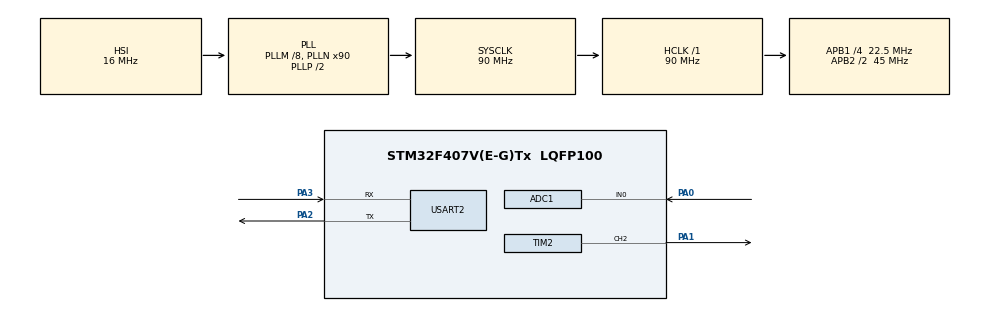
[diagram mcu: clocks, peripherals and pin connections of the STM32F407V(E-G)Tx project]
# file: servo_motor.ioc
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ADC1.Channel-0\#ChannelRegularConversion=ADC_CHANNEL_0
ADC1.InjNumberOfConversion=0
ADC1.NbrOfConversionFlag=1
ADC1.Rank-0\#ChannelRegularConversion=1
ADC1.SamplingTime-0\#ChannelRegularConversion=ADC_SAMPLETIME_3CYCLES
ADC1.master=1
Mcu.Family=STM32F4
Mcu.Name=STM32F407V(E-G)Tx
Mcu.Package=LQFP100
NVIC.PriorityGroup=NVIC_PRIORITYGROUP_0
PA0-WKUP.Signal=ADCx_IN0
PA1.Signal=S_TIM2_CH2
PA2.Mode=Asynchronous
PA2.Signal=USART2_TX
PA3.Mode=Asynchronous
PA3.Signal=USART2_RX
ProjectManager.HeapSize=0x200
ProjectManager.StackSize=0x400
ProjectManager.TargetToolchain=STM32CubeIDE
RCC.48MHZClocksFreq_Value=25714285.714285713
RCC.AHBFreq_Value=90000000
RCC.APB1CLKDivider=RCC_HCLK_DIV4
RCC.APB1Freq_Value=22500000
RCC.APB1TimFreq_Value=45000000
RCC.APB2CLKDivider=RCC_HCLK_DIV2
RCC.APB2Freq_Value=45000000
RCC.APB2TimFreq_Value=90000000
RCC.CortexFreq_Value=90000000
RCC.HCLKFreq_Value=90000000
RCC.HSE_VALUE=8000000
RCC.HSI_VALUE=16000000
RCC.LSE_VALUE=32768
RCC.PLLM=8
RCC.PLLN=90
RCC.PLLQ=7
RCC.SYSCLKFreq_VALUE=90000000
RCC.SYSCLKSource=RCC_SYSCLKSOURCE_PLLCLK
RCC.VCOOutputFreq_Value=180000000
SH.ADCx_IN0.0=ADC1_IN0,IN0
SH.S_TIM2_CH2.0=TIM2_CH2,PWM Generation2 CH2
TIM2.Channel-PWM\ Generation2\ CH2=TIM_CHANNEL_2
TIM2.Period=10000-1
TIM2.Prescaler=360-1
USART2.VirtualMode=VM_ASYNC
VP_TIM2_VS_ClockSourceINT.Mode=Internal
board=STM32F407G-DISC1

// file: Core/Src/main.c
/* USER CODE BEGIN Header */
/**
  ******************************************************************************
  * @file           : main.c
  * @brief          : Main program body
  ******************************************************************************
  * @attention
  *
  * Copyright (c) 2024 STMicroelectronics.
  * All rights reserved.
  *
  * This software is licensed under terms that can be found in the LICENSE file+
  *
  * in the root directory of this software component.
  * If no LICENSE file comes with this software, it is provided AS-IS.
  *
  ******************************************************************************
  */
/* USER CODE END Header */
#include "main.h"

/* USER CODE BEGIN Includes */
#include <stdio.h>
#include <string.h>
/* USER CODE END Includes */

ADC_HandleTypeDef hadc1;

TIM_HandleTypeDef htim2;

UART_HandleTypeDef huart2;

/* USER CODE BEGIN PV */
int i;
uint16_t moisture = 0;
char msg[20];
/* USER CODE END PV */

void SystemClock_Config(void);
static void MX_GPIO_Init(void);
static void MX_TIM2_Init(void);
static void MX_ADC1_Init(void);
static void MX_USART2_UART_Init(void);

/* USER CODE BEGIN 0 */
void Wiper_Operation(void);
/* USER CODE END 0 */

int main(void)
{

  /* MCU Configuration--------------------------------------------------------*/

  /* Reset of all peripherals, Initializes the Flash interface and the Systick. */
  HAL_Init();

  /* Configure the system clock */
  SystemClock_Config();

  /* Initialize all configured peripherals */
  MX_GPIO_Init();
  MX_TIM2_Init();
  MX_ADC1_Init();
  MX_USART2_UART_Init();
  /* USER CODE BEGIN 2 */
  HAL_TIM_PWM_Start(&htim2,TIM_CHANNEL_2);

  /* USER CODE END 2 */

  /* Infinite loop */
  /* USER CODE BEGIN WHILE */
  while (1)
  {

//	__HAL_TIM_SET_COMPARE(&htim2,TIM_CHANNEL_2,500);
//	HAL_Delay(2000);
	/*__HAL_TIM_SET_COMPARE(&htim2,TIM_CHANNEL_2,750);
		HAL_Delay(1000);
	__HAL_TIM_SET_COMPARE(&htim2,TIM_CHANNEL_2,1250);
	HAL_Delay(1000);*/

    /* USER CODE END WHILE */

    /* USER CODE BEGIN 3 */
	HAL_ADC_Start(&hadc1);
	HAL_ADC_PollForConversion(&hadc1, 20);
	moisture = HAL_ADC_GetValue(&hadc1);
	sprintf(msg,"Rain = %hu\r\n", moisture);
	HAL_UART_Transmit(&huart2, (uint8_t *)msg, strlen(msg), HAL_MAX_DELAY);
	HAL_Delay(500);

	if(moisture < 1000)
		Wiper_Operation();
  }
  /* USER CODE END 3 */
}

void SystemClock_Config(void)
{
  RCC_OscInitTypeDef RCC_OscInitStruct = {0};
  RCC_ClkInitTypeDef RCC_ClkInitStruct = {0};

  /** Configure the main internal regulator output voltage
  */
  __HAL_RCC_PWR_CLK_ENABLE();
  __HAL_PWR_VOLTAGESCALING_CONFIG(PWR_REGULATOR_VOLTAGE_SCALE1);

  /** Initializes the RCC Oscillators according to the specified parameters
  * in the RCC_OscInitTypeDef structure.
  */
  RCC_OscInitStruct.OscillatorType = RCC_OSCILLATORTYPE_HSI;
  RCC_OscInitStruct.HSIState = RCC_HSI_ON;
  RCC_OscInitStruct.HSICalibrationValue = RCC_HSICALIBRATION_DEFAULT;
  RCC_OscInitStruct.PLL.PLLState = RCC_PLL_ON;
  RCC_OscInitStruct.PLL.PLLSource = RCC_PLLSOURCE_HSI;
  RCC_OscInitStruct.PLL.PLLM = 8;
  RCC_OscInitStruct.PLL.PLLN = 90;
  RCC_OscInitStruct.PLL.PLLP = RCC_PLLP_DIV2;
  RCC_OscInitStruct.PLL.PLLQ = 7;
  if (HAL_RCC_OscConfig(&RCC_OscInitStruct) != HAL_OK)
  {
    Error_Handler();
  }

  /** Initializes the CPU, AHB and APB buses clocks
  */
  RCC_ClkInitStruct.ClockType = RCC_CLOCKTYPE_HCLK|RCC_CLOCKTYPE_SYSCLK
                              |RCC_CLOCKTYPE_PCLK1|RCC_CLOCKTYPE_PCLK2;
  RCC_ClkInitStruct.SYSCLKSource = RCC_SYSCLKSOURCE_PLLCLK;
  RCC_ClkInitStruct.AHBCLKDivider = RCC_SYSCLK_DIV1;
  RCC_ClkInitStruct.APB1CLKDivider = RCC_HCLK_DIV4;
  RCC_ClkInitStruct.APB2CLKDivider = RCC_HCLK_DIV2;

  if (HAL_RCC_ClockConfig(&RCC_ClkInitStruct, FLASH_LATENCY_2) != HAL_OK)
  {
    Error_Handler();
  }
}

static void MX_ADC1_Init(void)
{

  ADC_ChannelConfTypeDef sConfig = {0};

  /** Configure the global features of the ADC (Clock, Resolution, Data Alignment and number of conversion)
  */
  hadc1.Instance = ADC1;
  hadc1.Init.ClockPrescaler = ADC_CLOCK_SYNC_PCLK_DIV2;
  hadc1.Init.Resolution = ADC_RESOLUTION_12B;
  hadc1.Init.ScanConvMode = DISABLE;
  hadc1.Init.ContinuousConvMode = DISABLE;
  hadc1.Init.DiscontinuousConvMode = DISABLE;
  hadc1.Init.ExternalTrigConvEdge = ADC_EXTERNALTRIGCONVEDGE_NONE;
  hadc1.Init.ExternalTrigConv = ADC_SOFTWARE_START;
  hadc1.Init.DataAlign = ADC_DATAALIGN_RIGHT;
  hadc1.Init.NbrOfConversion = 1;
  hadc1.Init.DMAContinuousRequests = DISABLE;
  hadc1.Init.EOCSelection = ADC_EOC_SINGLE_CONV;
  if (HAL_ADC_Init(&hadc1) != HAL_OK)
  {
    Error_Handler();
  }

  /** Configure for the selected ADC regular channel its corresponding rank in the sequencer and its sample time.
  */
  sConfig.Channel = ADC_CHANNEL_0;
  sConfig.Rank = 1;
  sConfig.SamplingTime = ADC_SAMPLETIME_3CYCLES;
  if (HAL_ADC_ConfigChannel(&hadc1, &sConfig) != HAL_OK)
  {
    Error_Handler();
  }

}

static void MX_TIM2_Init(void)
{

  TIM_ClockConfigTypeDef sClockSourceConfig = {0};
  TIM_MasterConfigTypeDef sMasterConfig = {0};
  TIM_OC_InitTypeDef sConfigOC = {0};

  htim2.Instance = TIM2;
  htim2.Init.Prescaler = 360-1;
  htim2.Init.CounterMode = TIM_COUNTERMODE_UP;
  htim2.Init.Period = 10000-1;
  htim2.Init.ClockDivision = TIM_CLOCKDIVISION_DIV1;
  htim2.Init.AutoReloadPreload = TIM_AUTORELOAD_PRELOAD_DISABLE;
  if (HAL_TIM_Base_Init(&htim2) != HAL_OK)
  {
    Error_Handler();
  }
  sClockSourceConfig.ClockSource = TIM_CLOCKSOURCE_INTERNAL;
  if (HAL_TIM_ConfigClockSource(&htim2, &sClockSourceConfig) != HAL_OK)
  {
    Error_Handler();
  }
  if (HAL_TIM_PWM_Init(&htim2) != HAL_OK)
  {
    Error_Handler();
  }
  sMasterConfig.MasterOutputTrigger = TIM_TRGO_RESET;
  sMasterConfig.MasterSlaveMode = TIM_MASTERSLAVEMODE_DISABLE;
  if (HAL_TIMEx_MasterConfigSynchronization(&htim2, &sMasterConfig) != HAL_OK)
  {
    Error_Handler();
  }
  sConfigOC.OCMode = TIM_OCMODE_PWM1;
  sConfigOC.Pulse = 0;
  sConfigOC.OCPolarity = TIM_OCPOLARITY_HIGH;
  sConfigOC.OCFastMode = TIM_OCFAST_DISABLE;
  if (HAL_TIM_PWM_ConfigChannel(&htim2, &sConfigOC, TIM_CHANNEL_2) != HAL_OK)
  {
    Error_Handler();
  }
  HAL_TIM_MspPostInit(&htim2);

}

static void MX_USART2_UART_Init(void)
{

  huart2.Instance = USART2;
  huart2.Init.BaudRate = 115200;
  huart2.Init.WordLength = UART_WORDLENGTH_8B;
  huart2.Init.StopBits = UART_STOPBITS_1;
  huart2.Init.Parity = UART_PARITY_NONE;
  huart2.Init.Mode = UART_MODE_TX_RX;
  huart2.Init.HwFlowCtl = UART_HWCONTROL_NONE;
  huart2.Init.OverSampling = UART_OVERSAMPLING_16;
  if (HAL_UART_Init(&huart2) != HAL_OK)
  {
    Error_Handler();
  }

}

static void MX_GPIO_Init(void)
{

  /* GPIO Ports Clock Enable */
  __HAL_RCC_GPIOA_CLK_ENABLE();

}

/* USER CODE BEGIN 4 */
void Wiper_Operation(void)
{
	for(i=0;i<350;i++)
	{
		__HAL_TIM_SET_COMPARE(&htim2,TIM_CHANNEL_2,i+1);
		HAL_Delay(2);
    }

	for(i=350;i>0;i--)
    {
		__HAL_TIM_SET_COMPARE(&htim2,TIM_CHANNEL_2,i-1);
		HAL_Delay(2);
	}
}
/* USER CODE END 4 */

void Error_Handler(void)
{
  __disable_irq();
  while (1)
  {
  }
}
